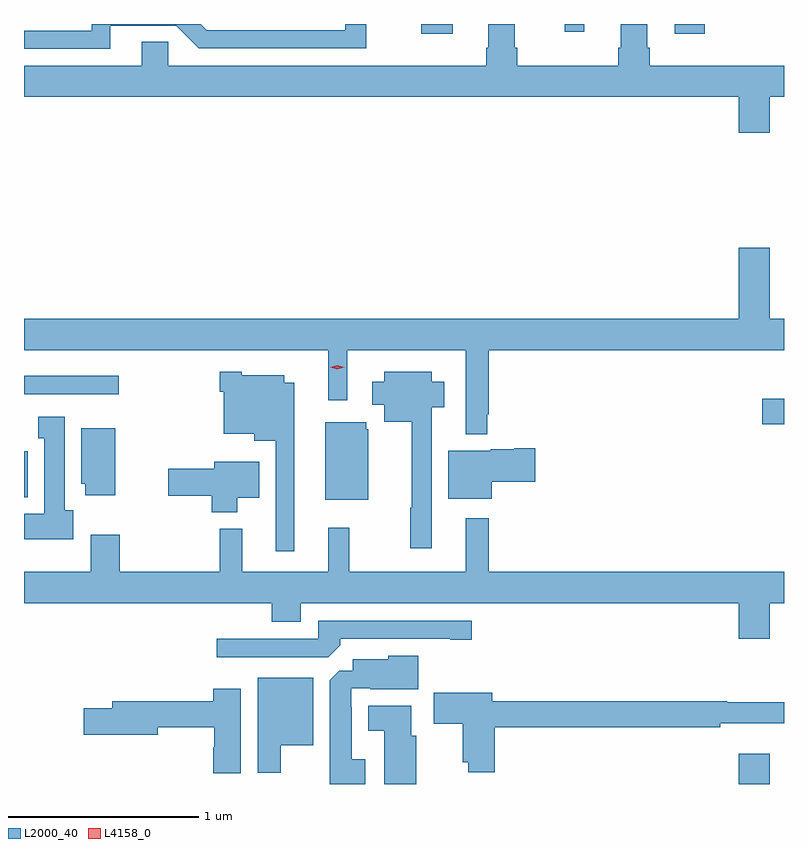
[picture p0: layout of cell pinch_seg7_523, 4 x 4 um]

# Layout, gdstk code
import gdstk
lib = gdstk.Library(unit=1e-6, precision=1e-09)
def R(c, l, rs):  # rectangles x0, y0, x1, y1
    for r in rs: c.add(gdstk.rectangle(r[:2], r[2:], *l))
def P(c, l, *ps):  # polygons
    for p in ps: c.add(gdstk.Polygon(p, *l))
L2000_40 = (2000, 40)
L4158_0 = (4158, 0)

pinch_seg7_523 = lib.new_cell('pinch_seg7_523')
R(pinch_seg7_523, L2000_40, [(141.032,1063.6,141.196,1063.759), (137.271,1065.11,137.29,1065.352), (141.156,1065.494,141.271,1065.628), (137.271,1065.651,137.77,1065.748), (139.363,1067.55,139.528,1067.6), (140.696,1067.55,140.855,1067.6), (140.116,1067.559,140.219,1067.6)])
P(pinch_seg7_523, L2000_40, [(141.196,1067.216),(141.271,1067.216),(141.271,1067.38),(140.564,1067.38),(140.564,1067.476),(140.551,1067.476),(140.551,1067.6),(140.411,1067.6),(140.411,1067.476),(140.399,1067.476),(140.399,1067.38),(139.868,1067.38),(139.868,1067.476),(139.855,1067.476),(139.855,1067.6),(139.715,1067.6),(139.715,1067.476),(139.703,1067.476),(139.703,1067.38),(138.03,1067.38),(138.03,1067.507),(137.891,1067.507),(137.891,1067.38),(137.271,1067.38),(137.271,1067.216),(141.032,1067.216),(141.032,1067.028),(141.196,1067.028)],
  [(137.725,1067.592),(138.072,1067.592),(138.192,1067.472),(139.072,1067.472),(139.072,1067.6),(138.963,1067.6),(138.963,1067.568),(138.234,1067.568),(138.202,1067.6),(137.628,1067.6),(137.628,1067.565),(137.271,1067.565),(137.271,1067.469),(137.725,1067.469)],
  [(139.709,1065.547),(139.717,1065.547),(139.717,1065.884),(141.271,1065.884),(141.271,1066.048),(141.196,1066.048),(141.196,1066.423),(141.032,1066.423),(141.032,1066.048),(137.271,1066.048),(137.271,1065.884),(138.871,1065.884),(138.871,1065.621),(138.971,1065.621),(138.971,1065.884),(139.595,1065.884),(139.595,1065.44),(139.709,1065.44)],
  [(139.417,1065.584),(139.483,1065.584),(139.483,1065.718),(139.417,1065.718),(139.417,1065.769),(139.166,1065.769),(139.166,1065.718),(139.103,1065.718),(139.103,1065.596),(139.166,1065.596),(139.166,1065.506),(139.313,1065.506),(139.313,1065.053),(139.303,1065.053),(139.303,1064.841),(139.417,1064.841)],
  [(138.694,1065.712),(138.64,1065.712),(138.64,1065.751),(138.417,1065.751),(138.417,1065.769),(138.302,1065.769),(138.302,1065.665),(138.323,1065.665),(138.323,1065.443),(138.482,1065.443),(138.482,1065.407),(138.597,1065.407),(138.597,1064.826),(138.694,1064.826)],
  [(137.53,1065.042),(137.485,1065.042),(137.485,1065.532),(137.345,1065.532),(137.345,1065.419),(137.378,1065.419),(137.378,1065.022),(137.271,1065.022),(137.271,1064.888),(137.53,1064.888)],
  [(139.084,1065.468),(139.072,1065.468),(139.072,1065.505),(138.857,1065.505),(138.857,1065.095),(139.084,1065.095)],
  [(137.752,1065.472),(137.573,1065.472),(137.573,1065.18),(137.594,1065.18),(137.594,1065.12),(137.752,1065.12)],
  [(139.732,1065.19),(139.963,1065.19),(139.963,1065.368),(139.85,1065.368),(139.85,1065.361),(139.728,1065.361),(139.728,1065.355),(139.505,1065.355),(139.505,1065.101),(139.732,1065.101)],
  [(138.394,1065.107),(138.508,1065.107),(138.508,1065.295),(138.272,1065.295),(138.272,1065.26),(138.03,1065.26),(138.03,1065.118),(138.26,1065.118),(138.26,1065.029),(138.394,1065.029)],
  [(138.419,1064.944),(138.301,1064.944),(138.301,1064.716),(137.774,1064.716),(137.774,1064.911),(137.621,1064.911),(137.621,1064.716),(137.271,1064.716),(137.271,1064.552),(138.575,1064.552),(138.575,1064.453),(138.727,1064.453),(138.727,1064.552),(141.032,1064.552),(141.032,1064.364),(141.196,1064.364),(141.196,1064.552),(141.271,1064.552),(141.271,1064.716),(139.717,1064.716),(139.717,1064.998),(139.595,1064.998),(139.595,1064.716),(138.982,1064.716),(138.982,1064.95),(138.872,1064.95),(138.872,1064.716),(138.419,1064.716)],
  [(138.935,1064.33),(138.935,1064.364),(139.514,1064.364),(139.514,1064.359),(139.627,1064.359),(139.627,1064.46),(138.819,1064.46),(138.819,1064.364),(138.285,1064.364),(138.285,1064.268),(138.873,1064.268)],
  [(139.066,1063.729),(138.997,1063.729),(138.997,1064.003),(138.993,1064.003),(138.993,1064.103),(139.093,1064.103),(139.093,1064.099),(139.345,1064.099),(139.345,1064.275),(139.188,1064.275),(139.188,1064.257),(139.001,1064.257),(139.001,1064.196),(138.93,1064.196),(138.881,1064.147),(138.881,1063.6),(139.066,1063.6)],
  [(138.622,1063.805),(138.793,1063.805),(138.793,1064.158),(138.5,1064.158),(138.5,1063.659),(138.622,1063.659)],
  [(138.412,1064.101),(138.266,1064.101),(138.266,1064.036),(137.735,1064.036),(137.735,1064),(137.586,1064),(137.586,1063.858),(137.974,1063.858),(137.974,1063.9),(138.271,1063.9),(138.271,1063.793),(138.266,1063.793),(138.266,1063.657),(138.412,1063.657)],
  [(139.748,1063.9),(140.936,1063.9),(140.936,1063.919),(141.271,1063.919),(141.271,1064.029),(140.972,1064.029),(140.972,1064.036),(139.735,1064.036),(139.735,1064.08),(139.428,1064.08),(139.428,1063.918),(139.58,1063.918),(139.58,1063.715),(139.61,1063.715),(139.61,1063.661),(139.748,1063.661)],
  [(139.336,1063.854),(139.309,1063.854),(139.309,1064.011),(139.082,1064.011),(139.082,1063.88),(139.166,1063.88),(139.166,1063.6),(139.336,1063.6)])
P(pinch_seg7_523, L4158_0, [(138.92,1065.784),(138.884,1065.794),(138.884,1065.794),(138.884,1065.794),(138.92,1065.804),(138.956,1065.794),(138.957,1065.794),(138.956,1065.794)])

lib.write_gds('pinch_seg7_523.gds')
